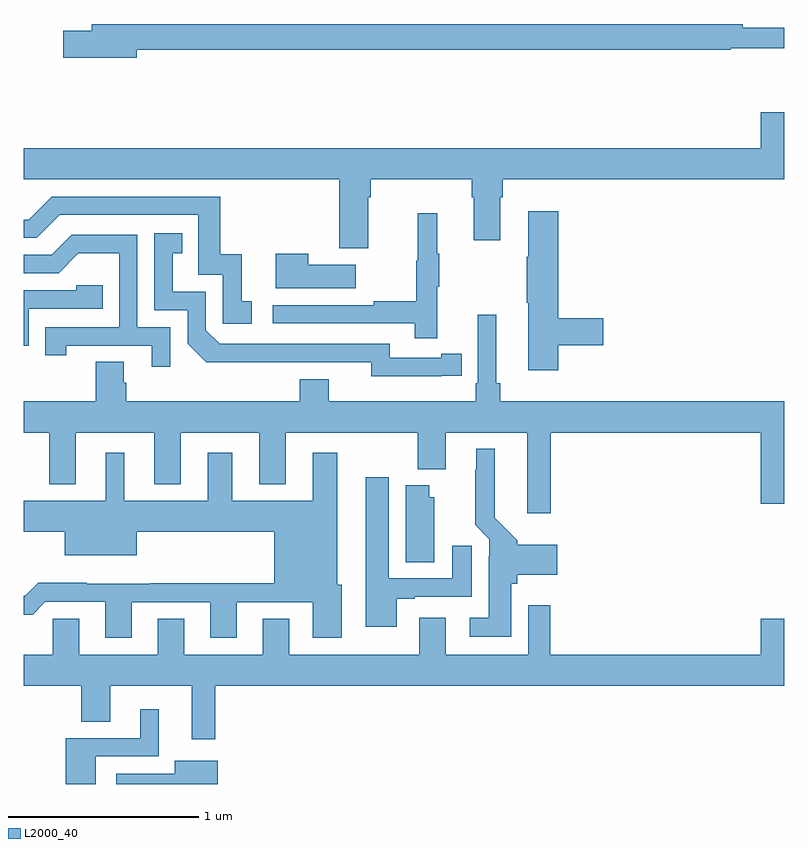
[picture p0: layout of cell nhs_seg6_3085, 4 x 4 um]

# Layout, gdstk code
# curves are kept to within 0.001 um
import gdstk
lib = gdstk.Library(unit=1e-6, precision=1e-09)
def P(c, l, *ps):  # polygons
    for p in ps: c.add(gdstk.Polygon(p, *l))
L2000_40 = (2000, 40)

nhs_seg6_3085 = lib.new_cell('nhs_seg6_3085')
P(nhs_seg6_3085, L2000_40, [(293.596,937.36),(296.719,937.36),(296.719,937.368),(297,937.368),(297,937.477),(296.78,937.477),(296.78,937.496),(293.357,937.496),(293.357,937.46),(293.208,937.46),(293.208,937.318),(293.596,937.318)],
  [(293,936.68),(294.659,936.68),(294.659,936.318),(294.811,936.318),(294.811,936.584),(294.824,936.584),(294.824,936.68),(295.355,936.68),(295.355,936.584),(295.367,936.584),(295.367,936.36),(295.507,936.36),(295.507,936.584),(295.52,936.584),(295.52,936.68),(297,936.68),(297,937.033),(296.876,937.033),(296.876,936.844),(293,936.844)],
  [(294.199,936.039),(294.146,936.039),(294.146,936.286),(294.035,936.286),(294.035,936.588),(293.148,936.588),(293.028,936.468),(293,936.468),(293,936.372),(293.07,936.372),(293.19,936.492),(293.919,936.492),(293.919,936.177),(294.048,936.177),(294.048,935.919),(294.199,935.919)],
  [(295.811,935.806),(296.047,935.806),(296.047,935.948),(295.811,935.948),(295.811,936.511),(295.652,936.511),(295.652,936.272),(295.645,936.272),(295.645,936.031),(295.652,936.031),(295.652,935.676),(295.811,935.676)],
  [(295.175,936.115),(295.186,936.115),(295.186,936.289),(295.175,936.289),(295.175,936.502),(295.072,936.502),(295.072,936.252),(295.065,936.252),(295.065,936.038),(294.841,936.038),(294.841,936.018),(294.309,936.018),(294.309,935.922),(295.057,935.922),(295.057,935.844),(295.175,935.844)],
  [(295.196,935.646),(295.304,935.646),(295.304,935.762),(295.196,935.762),(295.196,935.742),(294.924,935.742),(294.924,935.814),(294.03,935.814),(293.958,935.886),(293.958,936.087),(293.785,936.087),(293.785,936.291),(293.834,936.291),(293.834,936.397),(293.688,936.397),(293.688,935.991),(293.862,935.991),(293.862,935.814),(293.96,935.717),(294.828,935.718),(294.828,935.645)],
  [(293.772,935.901),(293.598,935.901),(293.598,936.387),(293.252,936.387),(293.147,936.282),(293,936.282),(293,936.186),(293.184,936.186),(293.288,936.29),(293.502,936.29),(293.502,935.901),(293.113,935.901),(293.113,935.754),(293.224,935.754),(293.224,935.805),(293.675,935.805),(293.675,935.694),(293.772,935.694)],
  [(294.745,936.229),(294.497,936.229),(294.497,936.289),(294.326,936.289),(294.326,936.107),(294.745,936.107)],
  [(293.028,936),(293.417,936),(293.417,936.123),(293.277,936.123),(293.277,936.096),(293,936.096),(293,935.805),(293.028,935.805)],
  [(293.54,935.61),(293.527,935.61),(293.527,935.72),(293.38,935.72),(293.38,935.512),(293,935.512),(293,935.348),(293.135,935.348),(293.135,935.075),(293.275,935.075),(293.275,935.348),(293.687,935.348),(293.687,935.075),(293.827,935.075),(293.827,935.348),(294.239,935.348),(294.239,935.075),(294.379,935.075),(294.379,935.348),(295.072,935.348),(295.072,935.156),(295.219,935.156),(295.219,935.348),(295.649,935.348),(295.649,934.923),(295.772,934.923),(295.772,935.348),(296.876,935.348),(296.876,934.974),(297,934.974),(297,935.512),(295.505,935.512),(295.505,935.608),(295.486,935.608),(295.486,935.968),(295.389,935.968),(295.389,935.608),(295.376,935.608),(295.376,935.512),(294.604,935.512),(294.604,935.629),(294.452,935.629),(294.452,935.512),(293.54,935.512)],
  [(295.564,934.554),(295.595,934.554),(295.595,934.601),(295.807,934.601),(295.807,934.759),(295.595,934.759),(295.595,934.782),(295.477,934.9),(295.477,935.263),(295.379,935.263),(295.379,935.153),(295.375,935.153),(295.375,934.862),(295.449,934.788),(295.449,934.694),(295.445,934.694),(295.445,934.375),(295.347,934.375),(295.347,934.274),(295.564,934.274)],
  [(293.569,934.455),(293.981,934.455),(293.981,934.269),(294.121,934.269),(294.121,934.455),(294.521,934.455),(294.521,934.269),(294.673,934.269),(294.673,934.548),(294.649,934.548),(294.649,935.242),(294.521,935.242),(294.521,934.99),(294.097,934.99),(294.097,935.242),(293.969,935.242),(293.969,934.99),(293.53,934.99),(293.53,935.242),(293.432,935.242),(293.432,934.99),(293,934.99),(293,934.826),(293.216,934.826),(293.216,934.703),(293.596,934.703),(293.596,934.826),(294.317,934.826),(294.317,934.556),(293.665,934.556),(293.665,934.552),(293.333,934.552),(293.333,934.559),(293.078,934.559),(293.008,934.489),(293,934.489),(293,934.391),(293.048,934.391),(293.115,934.458),(293.429,934.458),(293.429,934.269),(293.569,934.269)],
  [(294.961,934.473),(295.057,934.473),(295.057,934.485),(295.357,934.485),(295.357,934.753),(295.253,934.753),(295.253,934.581),(294.919,934.581),(294.919,935.113),(294.8,935.113),(294.8,934.326),(294.961,934.326)],
  [(295.159,935.007),(295.132,935.007),(295.132,935.071),(295.01,935.071),(295.01,934.666),(295.159,934.666)],
  [(294.007,934.016),(297,934.016),(297,934.369),(296.876,934.369),(296.876,934.18),(295.769,934.18),(295.769,934.441),(295.653,934.441),(295.653,934.18),(295.219,934.18),(295.219,934.375),(295.079,934.375),(295.079,934.18),(294.397,934.18),(294.397,934.37),(294.257,934.37),(294.257,934.18),(293.845,934.18),(293.845,934.37),(293.705,934.37),(293.705,934.18),(293.293,934.18),(293.293,934.37),(293.154,934.37),(293.154,934.18),(293,934.18),(293,934.016),(293.303,934.016),(293.303,933.826),(293.455,933.826),(293.455,934.016),(293.885,934.016),(293.885,933.735),(294.007,933.735)],
  [(293.38,933.645),(293.71,933.645),(293.71,933.892),(293.612,933.892),(293.612,933.741),(293.222,933.741),(293.222,933.5),(293.38,933.5)],
  [(294.021,933.622),(293.795,933.622),(293.795,933.555),(293.487,933.555),(293.487,933.5),(294.021,933.5)])

lib.write_gds('nhs_seg6_3085.gds')
